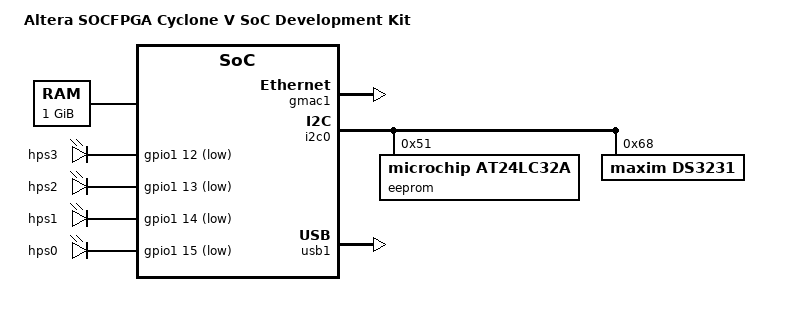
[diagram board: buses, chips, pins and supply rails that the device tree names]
/*
 * SPDX-License-Identifier: Apache-2.0
 * Copyright (C) 2021, Intel Corporation
 * Description:
 * Main Device Tree source of the Cyclone V SoC DevKit
 * this file is based on the GSRD DTS for Linux
 */

#include "intel_socfpga_std/socfpga_cyclonev.dtsi"
#include <zephyr/dt-bindings/gpio/gpio.h>

/ {
	compatible = "altr,socfpga-cyclonev-socdk", "altr,socfpga-cyclonev", "altr,socfpga";
	model = "Altera SOCFPGA Cyclone V SoC Development Kit";

	ddr0: memory@0 {
		reg = <0x0 0x40000000>; /* 1GB */
		name = "memory";
		device_type = "memory";
	};

	aliases {
		/* Giving different names to the LEDs connected to the HPS side of the chip */
		led0 = &hps0;
		led1 = &hps1;
		led2 = &hps2;
		led3 = &hps3;
		eeprom-0 = &eeprom;
	};

	leds {
		compatible = "gpio-leds";

		hps3: hps_led_3 {
			gpios = <&gpio1 12 GPIO_ACTIVE_LOW>;
		};

		hps2: hps_led_2 {
			gpios = <&gpio1 13 GPIO_ACTIVE_LOW>;
		};

		hps1: hps_led_1 {
			gpios = <&gpio1 14 GPIO_ACTIVE_LOW>;
		};

		hps0: hps_led_0 {
			gpios = <&gpio1 15 GPIO_ACTIVE_LOW>;
		};
	};

	soc {
		gmac1: ethernet@ff702000 {
			local-mac-address = [e6 88 2d 82 1f d4];
			status = "okay";
		};

		gpio0: gpio@ff708000 {
			status = "okay";
		};

		gpio1: gpio@ff709000 {
			status = "okay";
		};

		gpio2: gpio@ff70a000 {
			status = "okay";
		};

		i2c0: i2c@ffc04000 {
			status = "okay";

			eeprom: eeprom@51 {
				compatible = "microchip,at24lc32a", "atmel,at24";
				reg = <0x51>;
				size = <4096>;
				address-width = <8>;
				timeout = <25>;
				pagesize = <32>;
				status = "okay";
			};

			ds3231: rtc@68 {
				compatible = "maxim,ds3231";
				reg = <0x68>;
			};
		};
	};

	/* Configuring Zephyr mandatory devices */
	chosen {
		zephyr,sram = &ddr0;
		/*zephyr,flash	= &flash0;*/
		zephyr,console = &uart0;
		zephyr,shell-uart = &uart0;
		zephyr,ocm = &ocram;
	};
};

zephyr_udc0: &usb1 {
	compatible = "snps,dwc2";
	status = "okay";
};
